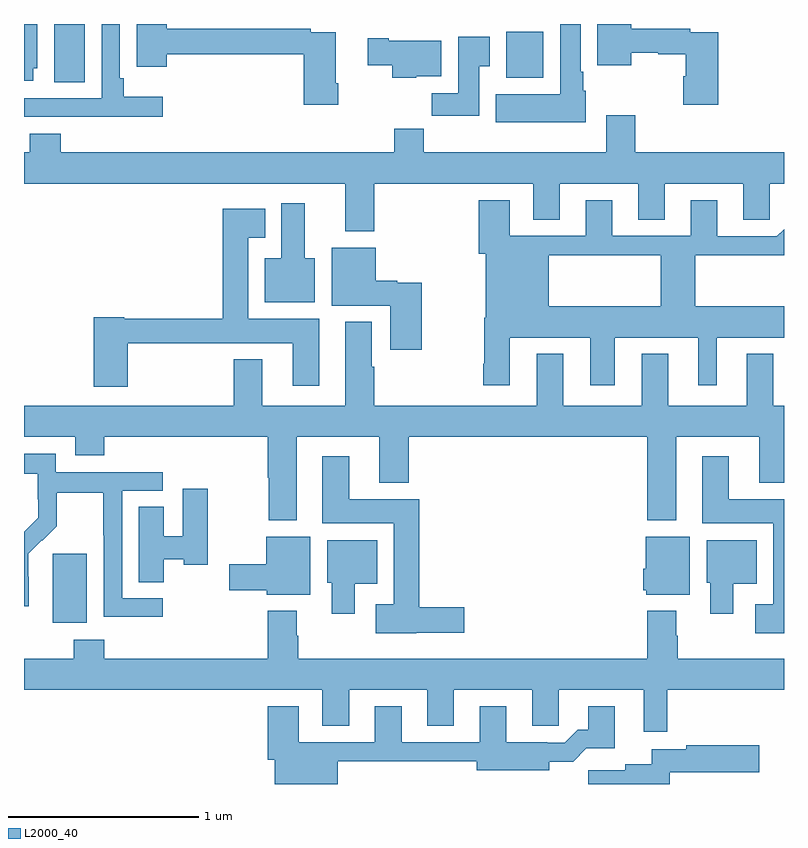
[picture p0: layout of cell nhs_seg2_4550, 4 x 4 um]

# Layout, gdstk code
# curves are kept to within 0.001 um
import gdstk
lib = gdstk.Library(unit=1e-6, precision=1e-09)
def R(c, l, rs):  # rectangles x0, y0, x1, y1
    for r in rs: c.add(gdstk.rectangle(r[:2], r[2:], *l))
def P(c, l, *ps):  # polygons
    for p in ps: c.add(gdstk.Polygon(p, *l))
L2000_40 = (2000, 40)

nhs_seg2_4550 = lib.new_cell('nhs_seg2_4550')
R(nhs_seg2_4550, L2000_40, [(357.152,654.65,357.331,655.011), (357.158,657.493,357.319,657.8), (359.537,657.518,359.734,657.76)])
P(nhs_seg2_4550, L2000_40, [(358.655,657.487),(358.642,657.487),(358.642,657.756),(358.508,657.756),(358.508,657.776),(357.752,657.776),(357.752,657.8),(357.593,657.8),(357.593,657.576),(357.752,657.576),(357.752,657.64),(358.472,657.64),(358.472,657.375),(358.655,657.375)],
  [(360.653,657.756),(360.506,657.756),(360.506,657.776),(360.196,657.776),(360.196,657.8),(360.017,657.8),(360.017,657.584),(360.196,657.584),(360.196,657.648),(360.339,657.648),(360.339,657.64),(360.482,657.64),(360.482,657.525),(360.47,657.525),(360.47,657.375),(360.653,657.375)],
  [(359.956,657.45),(359.944,657.45),(359.944,657.55),(359.929,657.55),(359.929,657.8),(359.822,657.8),(359.822,657.43),(359.483,657.43),(359.483,657.284),(359.956,657.284)],
  [(357.73,657.418),(357.524,657.418),(357.524,657.514),(357.504,657.514),(357.504,657.8),(357.408,657.8),(357.408,657.408),(357,657.408),(357,657.312),(357.311,657.312),(357.311,657.311),(357.73,657.311)],
  [(357.049,657.567),(357.07,657.567),(357.07,657.8),(357,657.8),(357,657.501),(357.049,657.501)],
  [(359.395,657.577),(359.452,657.577),(359.452,657.733),(359.285,657.733),(359.285,657.436),(359.146,657.436),(359.146,657.318),(359.395,657.318)],
  [(359.064,657.524),(359.197,657.524),(359.197,657.712),(358.921,657.712),(358.921,657.725),(358.809,657.725),(358.809,657.583),(358.939,657.583),(358.939,657.518),(359.064,657.518)],
  [(358.844,656.96),(359.681,656.96),(359.681,656.77),(359.821,656.77),(359.821,656.96),(360.233,656.96),(360.233,656.77),(360.373,656.77),(360.373,656.96),(360.785,656.96),(360.785,656.77),(360.924,656.77),(360.924,656.96),(361,656.96),(361,657.124),(360.218,657.124),(360.218,657.319),(360.065,657.319),(360.065,657.124),(359.105,657.124),(359.105,657.248),(358.949,657.248),(358.949,657.124),(357.194,657.124),(357.194,657.223),(357.029,657.223),(357.029,657.124),(357,657.124),(357,656.96),(358.691,656.96),(358.691,656.708),(358.844,656.708)],
  [(359.422,656.254),(359.422,656.011),(359.417,656.011),(359.417,655.899),(359.557,655.899),(359.557,656.15),(359.981,656.15),(359.981,655.899),(360.109,655.899),(360.109,656.15),(360.548,656.15),(360.548,655.899),(360.646,655.899),(360.646,656.15),(361,656.15),(361,656.314),(360.533,656.314),(360.533,656.582),(361,656.582),(361,656.719),(360.963,656.682),(360.649,656.682),(360.649,656.872),(360.509,656.872),(360.509,656.685),(360.097,656.685),(360.097,656.872),(359.957,656.872),(359.957,656.685),(359.557,656.685),(359.557,656.872),(359.393,656.872),(359.393,656.592),(359.429,656.592),(359.429,656.314),(359.761,656.314),(359.761,656.584),(360.35,656.584),(360.35,656.314),(359.429,656.314),(359.429,656.254)],
  [(358.531,656.566),(358.477,656.566),(358.477,656.857),(358.355,656.857),(358.355,656.566),(358.268,656.566),(358.268,656.336),(358.531,656.336)],
  [(357.545,656.121),(358.062,656.121),(358.062,656.12),(358.415,656.12),(358.415,655.896),(358.555,655.896),(358.555,656.248),(358.18,656.248),(358.18,656.675),(358.27,656.675),(358.27,656.827),(358.046,656.827),(358.046,656.249),(357.528,656.249),(357.528,656.257),(357.367,656.257),(357.367,655.89),(357.545,655.89)],
  [(359.094,656.437),(358.965,656.437),(358.965,656.45),(358.852,656.45),(358.852,656.623),(358.619,656.623),(358.619,656.318),(358.928,656.318),(358.928,656.085),(359.094,656.085)],
  [(358.435,655.628),(358.871,655.628),(358.871,655.385),(359.024,655.385),(359.024,655.628),(360.281,655.628),(360.281,655.187),(360.433,655.187),(360.433,655.628),(360.869,655.628),(360.869,655.385),(361,655.385),(361,655.792),(360.943,655.792),(360.943,656.065),(360.803,656.065),(360.803,655.792),(360.391,655.792),(360.391,656.065),(360.251,656.065),(360.251,655.792),(359.839,655.792),(359.839,656.065),(359.699,656.065),(359.699,655.792),(358.844,655.792),(358.844,655.997),(358.831,655.997),(358.831,656.233),(358.691,656.233),(358.691,655.792),(358.255,655.792),(358.255,656.035),(358.103,656.035),(358.103,655.792),(357,655.792),(357,655.628),(357.269,655.628),(357.269,655.529),(357.422,655.529),(357.422,655.628),(358.283,655.628),(358.283,655.413),(358.288,655.413),(358.288,655.187),(358.435,655.187)],
  [(357.73,654.777),(357.516,654.777),(357.516,655.344),(357.73,655.344),(357.73,655.44),(357.168,655.44),(357.168,655.537),(357,655.537),(357,655.433),(357.072,655.433),(357.072,655.299),(357.074,655.299),(357.074,655.202),(357,655.128),(357,654.736),(357.024,654.736),(357.023,655.013),(357.093,655.083),(357.096,655.08),(357.173,655.157),(357.173,655.332),(357.418,655.332),(357.418,655.108),(357.42,655.108),(357.42,654.679),(357.73,654.679)],
  [(361,655.3),(360.709,655.3),(360.709,655.525),(360.569,655.525),(360.569,655.172),(360.944,655.172),(360.944,654.745),(360.849,654.745),(360.849,654.593),(361,654.593)],
  [(359.064,654.596),(359.317,654.596),(359.317,654.731),(359.081,654.731),(359.081,655.3),(358.711,655.3),(358.711,655.525),(358.571,655.525),(358.571,655.172),(358.946,655.172),(358.946,654.745),(358.851,654.745),(358.851,654.593),(359.064,654.593)],
  [(357.736,654.983),(357.84,654.983),(357.84,654.953),(357.966,654.953),(357.966,655.354),(357.836,655.354),(357.836,655.105),(357.736,655.105),(357.736,655.259),(357.605,655.259),(357.605,654.862),(357.736,654.862)],
  [(360.505,655.102),(360.272,655.102),(360.272,654.933),(360.26,654.933),(360.26,654.819),(360.276,654.819),(360.276,654.797),(360.505,654.797)],
  [(358.507,655.102),(358.274,655.102),(358.274,654.956),(358.08,654.956),(358.08,654.821),(358.278,654.821),(358.278,654.797),(358.507,654.797)],
  [(360.733,654.854),(360.856,654.854),(360.856,655.084),(360.593,655.084),(360.593,654.858),(360.611,654.858),(360.611,654.696),(360.733,654.696)],
  [(358.741,654.854),(358.858,654.854),(358.858,655.084),(358.595,655.084),(358.595,654.858),(358.619,654.858),(358.619,654.696),(358.741,654.696)],
  [(360.385,654.296),(361,654.296),(361,654.46),(360.441,654.46),(360.441,654.581),(360.433,654.581),(360.433,654.712),(360.281,654.712),(360.281,654.46),(358.443,654.46),(358.443,654.581),(358.435,654.581),(358.435,654.712),(358.283,654.712),(358.283,654.46),(357.422,654.46),(357.422,654.559),(357.262,654.559),(357.262,654.46),(357,654.46),(357,654.296),(358.571,654.296),(358.571,654.106),(358.711,654.106),(358.711,654.296),(359.123,654.296),(359.123,654.106),(359.263,654.106),(359.263,654.296),(359.675,654.296),(359.675,654.106),(359.814,654.106),(359.814,654.296),(360.263,654.296),(360.263,654.075),(360.385,654.075)],
  [(358.651,653.92),(359.384,653.92),(359.384,653.873),(359.764,653.873),(359.764,653.918),(359.891,653.918),(359.96,653.987),(360.109,653.987),(360.109,654.208),(359.969,654.208),(359.969,654.085),(359.914,654.085),(359.847,654.018),(359.753,654.018),(359.753,654.021),(359.539,654.021),(359.539,654.208),(359.399,654.208),(359.399,654.021),(358.987,654.021),(358.987,654.208),(358.847,654.208),(358.847,654.021),(358.447,654.021),(358.447,654.208),(358.283,654.208),(358.283,653.928),(358.319,653.928),(358.319,653.8),(358.651,653.8)],
  [(360.399,653.861),(360.871,653.861),(360.871,654.003),(360.486,654.003),(360.486,653.983),(360.303,653.983),(360.303,653.905),(360.164,653.905),(360.164,653.873),(359.97,653.873),(359.97,653.8),(360.399,653.8)])

lib.write_gds('nhs_seg2_4550.gds')
